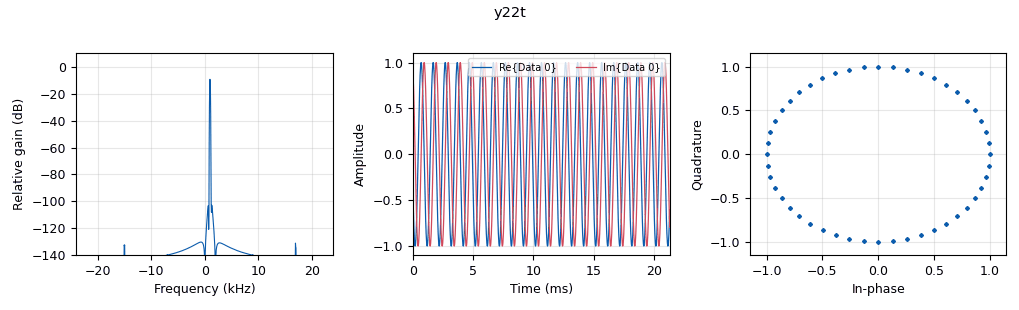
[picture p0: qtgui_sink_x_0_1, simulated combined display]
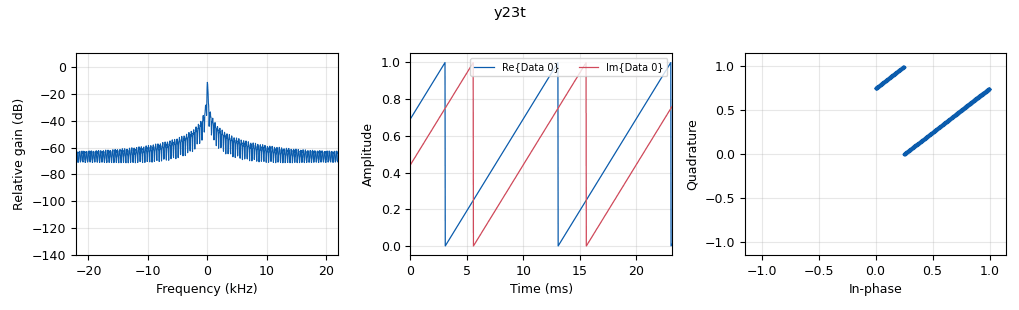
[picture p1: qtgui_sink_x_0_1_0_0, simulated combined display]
options:
  parameters:
    author: P. Mathys
    generate_options: qt_gui
    id: read_writeTests_complex_gr38_001
    output_language: python
    title: Read/Write Tests for complex-valued signals
  states: {}

blocks:
- name: Fs2
  id: variable
  parameters:
    value: '32000'
  states: {}
- name: Fs22
  id: variable
  parameters:
    value: '48000'
  states: {}
- name: Fs23
  id: variable
  parameters:
    value: '44100'
  states: {}
- name: Fs3
  id: variable
  parameters:
    value: '22050'
  states: {}
- name: analog_sig_source_x_0
  id: analog_sig_source_x
  parameters:
    amp: '1'
    freq: '1000'
    offset: '0'
    phase: '0'
    samp_rate: Fs22
    type: complex
    waveform: analog.GR_SIN_WAVE
  states: {}
- name: analog_sig_source_x_0_0_0
  id: analog_sig_source_x
  parameters:
    amp: '1'
    freq: '100'
    offset: '0'
    phase: '0'
    samp_rate: Fs23
    type: complex
    waveform: analog.GR_SAW_WAVE
  states: {}
- name: blocks_complex_to_float_0
  id: blocks_complex_to_float
  parameters: {}
  states: {state: disabled}
- name: blocks_file_sink_0
  id: blocks_file_sink
  parameters:
    file: sig_x22t_complex64_Fs48000.bin
    type: complex
  states: {state: disabled}
- name: blocks_file_source_0
  id: blocks_file_source
  parameters:
    file: sig_x2t_complex64_Fs32000.bin
    repeat: 'True'
    type: complex
  states: {}
- name: blocks_float_to_complex_0
  id: blocks_float_to_complex
  parameters: {}
  states: {}
- name: blocks_throttle_0
  id: blocks_throttle
  parameters:
    samples_per_second: Fs2
    type: complex
  states: {}
- name: blocks_throttle_0_0
  id: blocks_throttle
  parameters:
    samples_per_second: Fs3
    type: complex
  states: {}
- name: blocks_throttle_0_0_0
  id: blocks_throttle
  parameters:
    samples_per_second: Fs22
    type: complex
  states: {}
- name: blocks_throttle_0_0_0_0_0
  id: blocks_throttle
  parameters:
    samples_per_second: Fs23
    type: complex
  states: {}
- name: blocks_wavfile_sink_0
  id: blocks_wavfile_sink
  parameters:
    bits_per_sample: '16'
    file: sig_x23t_PAMint16_2ch_Fs44100.wav
    nchan: '2'
    samp_rate: Fs23
  states: {state: disabled}
- name: blocks_wavfile_source_0
  id: blocks_wavfile_source
  parameters:
    file: sig_x3t_PAMint16_2ch_Fs22050.wav
    nchan: '2'
    repeat: 'True'
  states: {}
- name: qtgui_sink_x_0
  id: qtgui_sink_x
  parameters:
    bw: Fs2
    fc: '0'
    fftsize: '1024'
    gui_hint: 0,0,1,1
    name: '"y2t"'
    type: complex
    wintype: firdes.WIN_BLACKMAN_hARRIS
  states: {}
- name: qtgui_sink_x_0_0
  id: qtgui_sink_x
  parameters:
    bw: Fs3
    fc: '0'
    fftsize: '4096'
    gui_hint: 0,1,1,1
    name: '"y3t"'
    type: complex
    wintype: firdes.WIN_BLACKMAN_hARRIS
  states: {}
- name: qtgui_sink_x_0_1
  id: qtgui_sink_x
  parameters:
    bw: Fs22
    fc: '0'
    fftsize: '1024'
    gui_hint: 1,0,1,1
    name: '"y22t"'
    type: complex
    wintype: firdes.WIN_BLACKMAN_hARRIS
  states: {}
- name: qtgui_sink_x_0_1_0_0
  id: qtgui_sink_x
  parameters:
    bw: Fs23
    fc: '0'
    fftsize: '1024'
    gui_hint: 1,1,1,1
    name: '"y23t"'
    type: complex
    wintype: firdes.WIN_BLACKMAN_hARRIS
  states: {}

connections:
- [analog_sig_source_x_0, '0', blocks_throttle_0_0_0, '0']
- [analog_sig_source_x_0_0_0, '0', blocks_throttle_0_0_0_0_0, '0']
- [blocks_complex_to_float_0, '0', blocks_wavfile_sink_0, '0']
- [blocks_complex_to_float_0, '1', blocks_wavfile_sink_0, '1']
- [blocks_file_source_0, '0', blocks_throttle_0, '0']
- [blocks_float_to_complex_0, '0', blocks_throttle_0_0, '0']
- [blocks_throttle_0, '0', qtgui_sink_x_0, '0']
- [blocks_throttle_0_0, '0', qtgui_sink_x_0_0, '0']
- [blocks_throttle_0_0_0, '0', blocks_file_sink_0, '0']
- [blocks_throttle_0_0_0, '0', qtgui_sink_x_0_1, '0']
- [blocks_throttle_0_0_0_0_0, '0', blocks_complex_to_float_0, '0']
- [blocks_throttle_0_0_0_0_0, '0', qtgui_sink_x_0_1_0_0, '0']
- [blocks_wavfile_source_0, '0', blocks_float_to_complex_0, '0']
- [blocks_wavfile_source_0, '1', blocks_float_to_complex_0, '1']

metadata:
  file_format: 1
